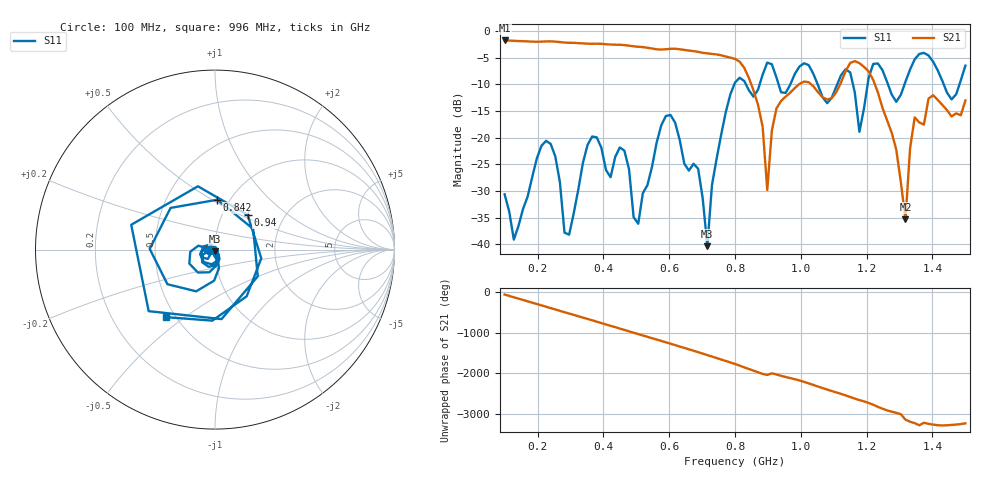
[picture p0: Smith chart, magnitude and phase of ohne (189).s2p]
! NanoVNA-App
! Date: 2025-09-25 14:22:16
! Start: 100MHz Stop: 1,5GHz Points: 101
! S-Parameter data: F S11 S21 S12 S22
# Hz S RI R 50
!  Frequency  S11_Real  S11_Imag  S21_Real  S21_Imag  S12_Real  S12_Imag  S22_Real  S22_Imag
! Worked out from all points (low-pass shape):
!   101 points, 100 MHz to 1.5 GHz, reference 50 ohm
!   highest |S21| = -1.79 dB at 100 MHz (marker M1); lowest = -35.3 dB at 1.318 GHz (marker M2)
!   |S21| within 3 dB of the highest: start of sweep to 771.2 MHz
!   lowest |S11| = -40.4 dB at 716 MHz (marker M3), VSWR 1.02, Z = 49.8 - j0.942 ohm
!   |S11| at or under -10 dB: start of sweep to 798 MHz; 833 MHz to 875.1 MHz (42.12 MHz wide, 4.93 % of centre); 1.051 GHz to 1.111 GHz (59.71 MHz wide, 5.52 % of centre) (the widest 3 of 7)
!   S12 and S22 are empty: the file has one direction only
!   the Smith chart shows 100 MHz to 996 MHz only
!   S11 on the Smith chart (normalised r, x): 100 MHz: 0.94, -0.01; 842 MHz: 0.88, +0.53; 940 MHz: 1.31, +0.55; 996 MHz: 0.45, -0.43
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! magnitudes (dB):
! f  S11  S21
! 100 MHz  -30.6  -1.8
! 128 MHz  -39.1  -1.9
! 226 MHz  -20.6  -2.0
! 296 MHz  -38.2  -2.2
! 338 MHz  -24.7  -2.3
! 464 MHz  -22.5  -2.7
! 506 MHz  -36.2  -3.0
! 576 MHz  -17.7  -3.5
! 688 MHz  -25.8  -3.9
! 716 MHz  -40.4  -4.2
! 800 MHz  -9.7  -5.3
! 842 MHz  -11.1  -8.8
! 898 MHz  -5.9  -29.8
! 940 MHz  -11.5  -13.1
! 996 MHz  -6.7  -9.9
! 1.038 GHz  -8.0  -10.4
! 1.178 GHz  -18.9  -6.1
! 1.22 GHz  -6.2  -9.2
! 1.276 GHz  -11.9  -19.1
! 1.318 GHz  -9.5  -35.3
! 1.346 GHz  -5.3  -16.2
! 1.5 GHz  -6.5  -13.0
